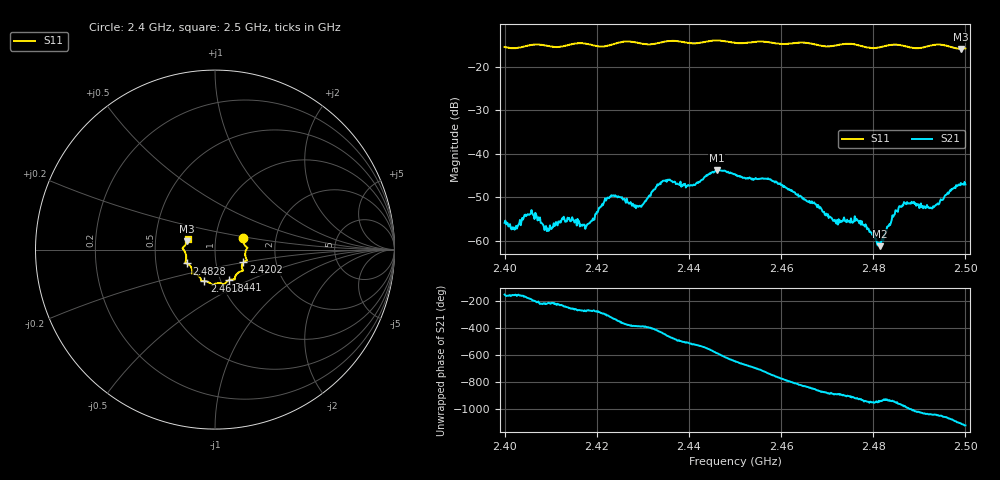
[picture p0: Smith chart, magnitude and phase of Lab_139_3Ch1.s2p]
# Hz S RI R 50
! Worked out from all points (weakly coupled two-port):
!   601 points, 2.4 GHz to 2.5 GHz, reference 50 ohm
!   highest |S21| = -43.77 dB at 2.446 GHz (marker M1); lowest = -61.3 dB at 2.4815 GHz (marker M2)
!   lowest |S11| = -15.8 dB at 2.499 GHz (marker M3), VSWR 1.39, Z = 36.5 + j3.49 ohm
!   |S11| at or under -10 dB: start of sweep to end of sweep
!   S12 and S22 are empty: the file has one direction only
!   S11 on the Smith chart (normalised r, x): 2.4 GHz: 1.36, +0.18; 2.4202 GHz: 1.36, -0.20; 2.441 GHz: 1.10, -0.39; 2.4618 GHz: 0.84, -0.30; 2.4828 GHz: 0.72, -0.12; 2.5 GHz: 0.73, +0.09
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2.4e9  0.1574 0.063  -0.00145 -0.000691  0 0  0 0
2.402333e9  0.1605 0.035  -0.00124 -0.000564  0 0  0 0
2.4055e9  0.1776 0.0129  -0.002 0.000188  0 0  0 0
2.409167e9  0.1752 0.00124  -0.000952 0.000866  0 0  0 0
2.416667e9  0.1779 -0.06  6.73e-05 0.0015  0 0  0 0
2.420167e9  0.1581 -0.0708  0.000455 0.00205  0 0  0 0
2.4235e9  0.1507 -0.1025  0.00286 0.00164  0 0  0 0
2.4295e9  0.1414 -0.1221  0.00214 -0.00124  0 0  0 0
2.433333e9  0.1122 -0.1511  0.00188 -0.00391  0 0  0 0
2.441e9  0.0786 -0.1696  -0.00415 -0.0015  0 0  0 0
2.446e9  0.0508 -0.195  -0.00449 0.00467  0 0  0 0
2.45e9  0.0285 -0.1871  0.00163 0.00559  0 0  0 0
2.461833e9  -0.0593 -0.1758  0.000988 -0.00369  0 0  0 0
2.466667e9  -0.0778 -0.1679  -0.00176 -0.00221  0 0  0 0
2.4765e9  -0.1263 -0.1279  -0.00166 0.000549  0 0  0 0
2.4815e9  -0.1469 -0.0827  -0.00067 0.000543  0 0  0 0
2.482833e9  -0.1575 -0.0774  -0.00108 0.000676  0 0  0 0
2.483333e9  -0.1604 -0.0761  -0.00117 0.000877  0 0  0 0
2.486833e9  -0.1625 -0.0617  -0.000667 0.00263  0 0  0 0
2.492667e9  -0.1773 0.00254  0.00179 0.00154  0 0  0 0
2.499e9  -0.1546 0.0466  0.00418 -0.00193  0 0  0 0
2.5e9  -0.1517 0.0609  0.00338 -0.00287  0 0  0 0
